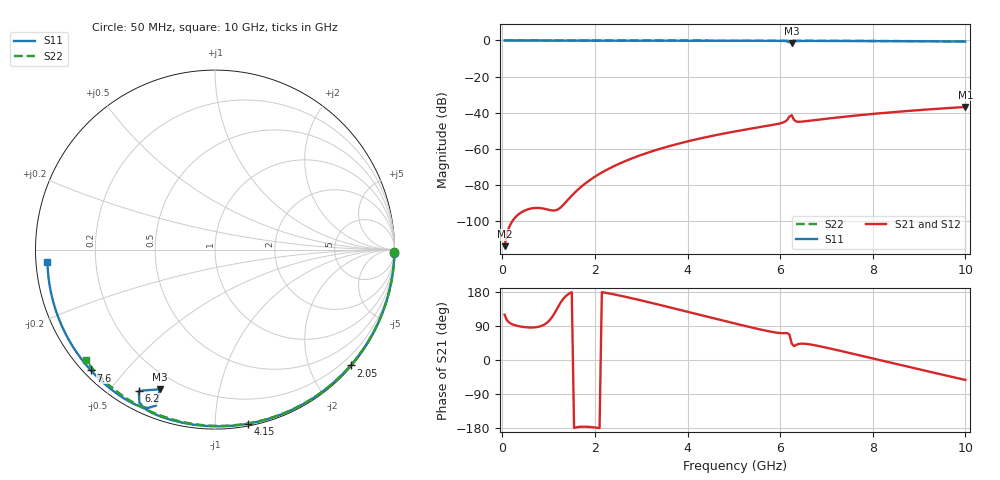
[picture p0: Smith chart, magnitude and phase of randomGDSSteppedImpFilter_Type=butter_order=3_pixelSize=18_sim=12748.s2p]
! freq	dB(S11)	phase(S11)	dB(S12)	phase(S12)
!  dB(S21)	phase(S21)	dB(S22)	phase(S22)
!S-par simulation data
#  GHz  S  DB  R 50
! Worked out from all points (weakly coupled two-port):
!   200 points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, 50 MHz to 10 GHz, reference 50 ohm
!   highest |S21| = -36.88 dB at 10 GHz (marker M1); lowest = -114.0 dB at 50 MHz (marker M2)
!   lowest |S11| = -1.5 dB at 6.25 GHz (marker M3), VSWR 11.24, Z = 6.49 - j33.6 ohm
!   |S11| at or under -10 dB: nowhere
!   |S22| runs from -0.5 to 0.0 dB; largest |S21 - S12| = 0
!   S11 on the Smith chart (normalised r, x): 50 MHz: open; 2.05 GHz: 0.02, -2.71; 4.15 GHz: 0.02, -1.21; 6.2 GHz: 0.08, -0.59; 7.6 GHz: 0.02, -0.41; 10 GHz: 0.03, -0.04
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0.05  -0.00 -1.0  -114.04 119.5  -114.04 119.5  -0.00 -0.8
0.85  -0.02 -17.0  -93.02 90.1  -93.02 90.1  -0.01 -13.6
1.75  -0.04 -34.7  -80.12 -176.0  -80.12 -176.0  -0.04 -27.8
2.05  -0.05 -40.5  -74.71 -178.9  -74.71 -178.9  -0.04 -32.5
2.35  -0.06 -46.2  -70.45 174.7  -70.45 174.7  -0.05 -37.1
2.65  -0.07 -51.9  -66.93 167.0  -66.93 167.0  -0.05 -41.7
3.4  -0.09 -65.7  -60.12 145.4  -60.12 145.4  -0.07 -52.9
4.15  -0.11 -79.1  -55.04 122.7  -55.04 122.7  -0.09 -63.8
5.05  -0.15 -94.7  -50.32 95.5  -50.32 95.5  -0.12 -76.5
6  -0.23 -111.8  -45.98 71.1  -45.98 71.1  -0.16 -89.3
6.1  -0.31 -114.4  -45.06 70.8  -45.06 70.8  -0.16 -90.7
6.15  -0.44 -116.3  -44.13 71.1  -44.13 71.1  -0.16 -91.3
6.2  -0.97 -118.4  -42.22 67.1  -42.22 67.1  -0.17 -92.0
6.25  -1.55 -111.5  -41.46 43.4  -41.46 43.4  -0.17 -92.6
6.3  -0.63 -110.7  -44.04 36.6  -44.04 36.6  -0.17 -93.3
6.35  -0.38 -112.9  -44.93 40.2  -44.93 40.2  -0.17 -93.9
6.45  -0.27 -115.8  -45.04 43.1  -45.04 43.1  -0.18 -95.2
6.7  -0.25 -120.7  -44.30 40.0  -44.30 40.0  -0.19 -98.5
7.6  -0.31 -135.8  -41.72 15.6  -41.72 15.6  -0.25 -110.0
8.35  -0.38 -148.0  -39.94 -5.9  -39.94 -5.9  -0.31 -119.3
9.2  -0.47 -162.1  -38.23 -30.2  -38.23 -30.2  -0.38 -129.7
10  -0.57 -175.9  -36.88 -52.6  -36.88 -52.6  -0.47 -139.5
